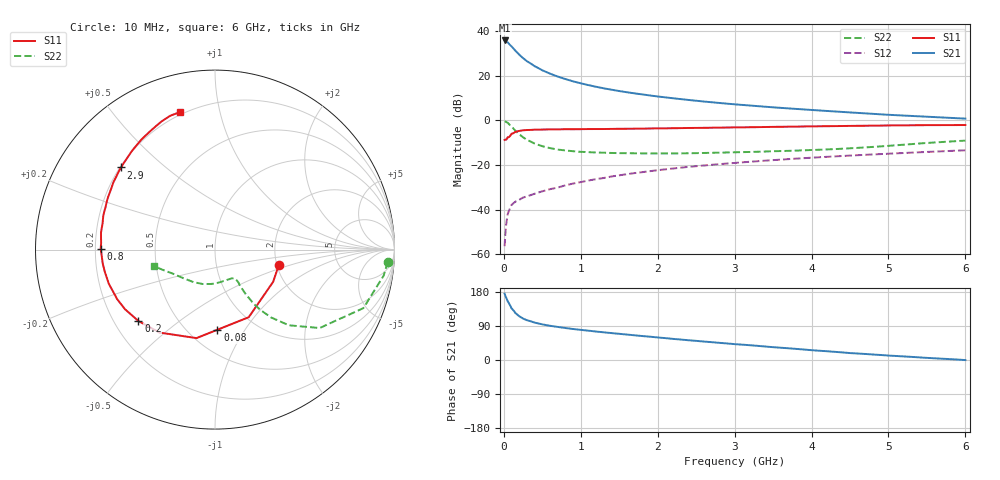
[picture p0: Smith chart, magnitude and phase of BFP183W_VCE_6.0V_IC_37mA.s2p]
! Infineon Technologies  Discrete & RF Semiconductors
! BFP183W
! VCE =  6.0 V,  IC =  37 mA
! Common Emitter S-Parameters:  Jan 2017
# GHz  S  MA  R  50
!  f  S11  S21  S12  S22
! GHz  MAG  ANG  MAG  ANG  MAG  ANG  MAG  ANG
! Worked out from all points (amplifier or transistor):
!   77 points, 10 MHz to 6 GHz, reference 50 ohm
!   highest |S21| = 36.0 dB at 10 MHz (marker M1)
!   |S21| within 3 dB of that: start of sweep to 109.2 MHz
!   unconditionally stable (mu >= 1): 873.4 MHz to 3.36 GHz
!   at 130 MHz: K = 0.33, MSG = 34.6 dB, |S12| = -37.0 dB
!   at 2.2 GHz: K = 1.06, MAG = 14.3 dB, |S12| = -21.6 dB
!   at 6 GHz: K = 0.86, MSG = 7.1 dB, |S12| = -13.4 dB
!   S11 on the Smith chart (normalised r, x): 10 MHz: 2.06, -0.40; 80 MHz: 0.68, -0.76; 200 MHz: 0.30, -0.36; 800 MHz: 0.22, +0.00; 2.9 GHz: 0.20, +0.36; 6 GHz: 0.19, +0.76
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0.01  0.366 -13.2  62.84 175.0  0.0015 90.9  0.965 -4.1
0.02  0.3704 -29.0  61.77 169.3  0.0029 91.6  0.9507 -8.8
0.05  0.421 -63.5  56.98 155.0  0.0078 70.1  0.889 -21.5
0.08  0.4468 -88.3  49.93 144.7  0.0107 63.4  0.7862 -29.9
0.1  0.5038 -101.8  46.34 136.3  0.0127 60.6  0.7293 -36.8
0.15  0.5562 -123.8  37.02 124.0  0.015 53.2  0.5893 -45.7
0.2  0.5833 -137.0  30.11 115.5  0.0165 50.8  0.4909 -50.4
0.25  0.6016 -146.5  25.18 109.4  0.0186 49.0  0.42 -53.1
0.3  0.6109 -153.1  21.49 105.0  0.0196 49.9  0.3682 -54.5
0.4  0.6215 -162.2  16.61 98.6  0.0226 53.3  0.3025 -55.4
0.5  0.6262 -168.5  13.43 94.0  0.0256 54.5  0.2642 -55.3
0.6  0.6305 -173.2  11.3 90.3  0.0286 55.7  0.2395 -55.1
0.7  0.6322 -176.9  9.707 87.3  0.0311 59.1  0.2221 -54.5
0.8  0.6369 179.5  8.531 84.4  0.0349 60.7  0.2124 -54.6
1.1  0.6421 171.5  6.235 77.4  0.0448 63.0  0.1945 -55.8
1.5  0.6506 163.0  4.587 69.1  0.0586 63.9  0.1846 -60.7
2.1  0.6668 151.6  3.309 57.7  0.0799 62.9  0.1816 -73.0
2.9  0.6953 138.8  2.391 43.7  0.1078 59.3  0.1912 -94.5
3.1  0.7018 135.9  2.238 40.5  0.1147 58.0  0.1945 -99.9
4.1  0.7412 122.4  1.68 24.5  0.1492 51.9  0.2202 -126.6
5.1  0.7756 111.9  1.316 10.6  0.1827 45.5  0.2774 -152.0
6  0.7907 104.1  1.101 -0.2  0.2141 39.1  0.3534 -165.1
